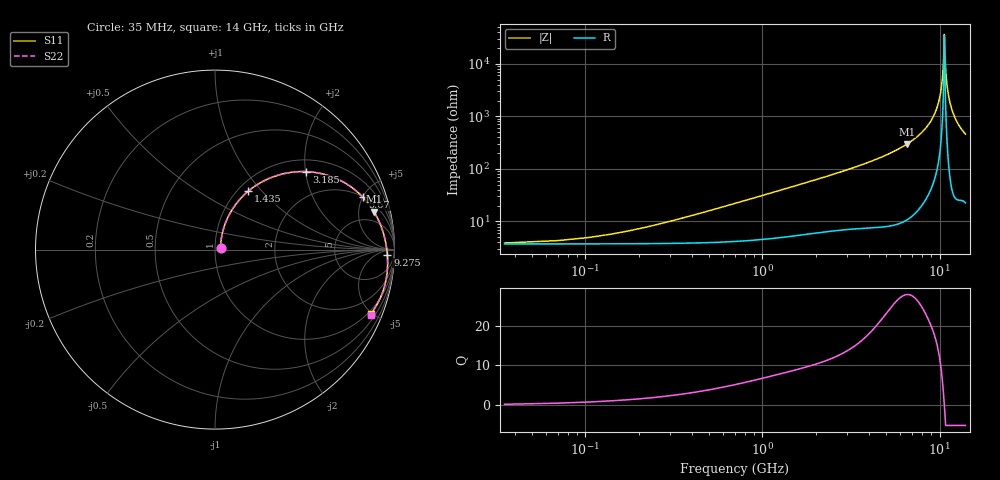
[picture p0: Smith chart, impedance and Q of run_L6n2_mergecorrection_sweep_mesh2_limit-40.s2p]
#  Hz  S  RI  R  50
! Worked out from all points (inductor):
!   400 points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, 35 MHz to 14 GHz, reference 50 ohm
!   read as one part in series: L = 4.91 nH near 385 MHz
!   highest Q = 27.7 at 6.545 GHz (marker M1), where L = 7.21 nH
!   self-resonance near 10.64 GHz
!   S11 on the Smith chart (normalised r, x): 35 MHz: 1.06, +0.02; 1.435 GHz: 1.12, +0.85; 3.185 GHz: 1.28, +2.02; 5.67 GHz: 2.03, +5.05; 9.275 GHz: 33, -24; 14 GHz: 0.79, -4.88
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3.5e7  0.0308 0.00964  0.9586 -0.0105  0.9586 -0.0105  0.0308 0.00964
2.8e8  0.0379 0.0765  0.9511 -0.0833  0.9511 -0.0833  0.0379 0.0765
5.25e8  0.0553 0.1404  0.9325 -0.1529  0.9325 -0.1529  0.0553 0.1404
1.435e9  0.1855 0.3255  0.7951 -0.3544  0.7951 -0.3544  0.1855 0.3254
2.38e9  0.3628 0.4179  0.6115 -0.4578  0.6115 -0.4578  0.3627 0.4178
3.185e9  0.5082 0.4345  0.4635 -0.4823  0.4635 -0.4823  0.5081 0.4343
4.69e9  0.7271 0.3696  0.2429 -0.4342  0.2429 -0.4342  0.727 0.3694
5.67e9  0.8252 0.291  0.1438 -0.3677  0.1438 -0.3677  0.825 0.2907
6.545e9  0.8853 0.212  0.0823 -0.2998  0.0823 -0.2999  0.8851 0.2117
7.035e9  0.9095 0.1671  0.0572 -0.2611  0.0572 -0.2611  0.9093 0.1668
9.275e9  0.9602 -0.028  0.00249 -0.0937  0.00242 -0.0937  0.96 -0.0284
9.345e9  0.9606 -0.0338  0.00195 -0.0888  0.00188 -0.0888  0.9604 -0.0342
9.905e9  0.9619 -0.0795  -0.000241 -0.0503  -0.000322 -0.0503  0.9616 -0.0799
1.029e10  0.9606 -0.1104  0.000342 -0.0244  0.000253 -0.0244  0.9603 -0.1108
1.05e10  0.9591 -0.1271  0.00138 -0.0104  0.00128 -0.0104  0.9589 -0.1274
1.064e10  0.9579 -0.1381  0.00235 -0.00126  0.00225 -0.00125  0.9576 -0.1385
1.0675e10  0.9575 -0.1409  0.00263 0.00103  0.00253 0.00103  0.9573 -0.1412
1.0815e10  0.956 -0.1518  0.00388 0.0101  0.00378 0.0101  0.9557 -0.1522
1.0955e10  0.9542 -0.1627  0.00537 0.0191  0.00527 0.0191  0.9539 -0.163
1.1235e10  0.9499 -0.1842  0.00903 0.0369  0.00892 0.0369  0.9496 -0.1845
1.169e10  0.9408 -0.2181  0.0169 0.0649  0.0168 0.0649  0.9405 -0.2185
1.4e10  0.8676 -0.3614  0.0836 0.1792  0.0835 0.1793  0.8673 -0.3616
